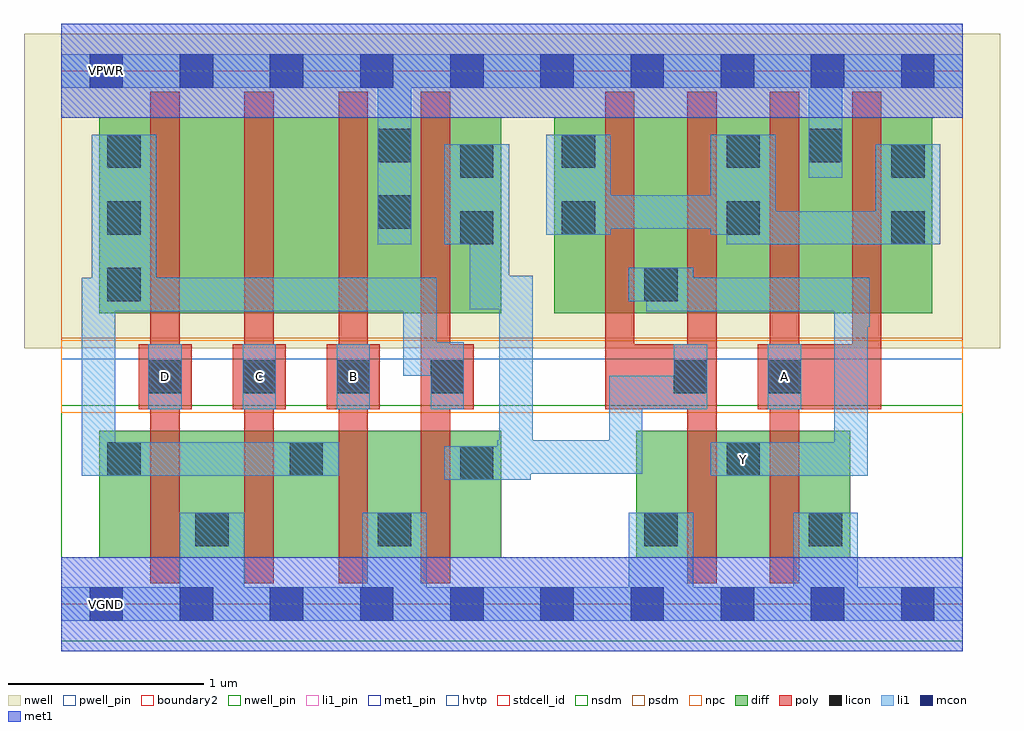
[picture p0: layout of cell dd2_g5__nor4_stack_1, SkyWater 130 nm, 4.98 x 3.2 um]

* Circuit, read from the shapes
.subckt dd2_g5__nor4_stack_1 A B C D VGND VNB VPB VPWR Y
XM1 VGND D n1 VNB sky130_fd_pr__nfet_01v8 w=0.65 l=0.15
XM2 n1 C VGND VNB sky130_fd_pr__nfet_01v8 w=0.65 l=0.15
XM3 VGND B n1 VNB sky130_fd_pr__nfet_01v8 w=0.65 l=0.15
XM4 n2 n1 VGND VNB sky130_fd_pr__nfet_01v8 w=0.65 l=0.15
XM5 Y n2 VGND VNB sky130_fd_pr__nfet_01v8 w=0.65 l=0.15
XM6 VGND A Y VNB sky130_fd_pr__nfet_01v8 w=0.65 l=0.15
XM7 n3 D n1 VPB sky130_fd_pr__pfet_01v8_hvt w=1 l=0.15
XM8 n4 C n3 VPB sky130_fd_pr__pfet_01v8_hvt w=1 l=0.15
XM9 VPWR B n4 VPB sky130_fd_pr__pfet_01v8_hvt w=1 l=0.15
XM10 n2 n1 VPWR VPB sky130_fd_pr__pfet_01v8_hvt w=1 l=0.15
XM11 Y n2 n5 VPB sky130_fd_pr__pfet_01v8_hvt w=1 l=0.15 m=2
XM12 VPWR A n5 VPB sky130_fd_pr__pfet_01v8_hvt w=1 l=0.15 m=2
.ends

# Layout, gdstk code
import gdstk
lib = gdstk.Library(unit=1e-6, precision=1e-09)
def R(c, l, rs):  # rectangles x0, y0, x1, y1
    for r in rs: c.add(gdstk.rectangle(r[:2], r[2:], *l))
def A(c, l, x, y, w, h, nx, ny, dx, dy):  # array of equal rectangles
    R(c, l, [(x+i*dx, y+j*dy, x+i*dx+w, y+j*dy+h) for i in range(nx) for j in range(ny)])
nwell_pin = (64, 16)
nwell = (64, 20)
diff = (65, 20)
poly = (66, 20)
licon = (66, 44)
li1_pin = (67, 16)
li1 = (67, 20)
mcon = (67, 44)
met1_pin = (68, 16)
met1 = (68, 20)
hvtp = (78, 44)
stdcell_id = (81, 4)
nsdm = (93, 44)
psdm = (94, 20)
npc = (95, 20)
pwell_pin = (122, 16)
boundary2 = (236, 0)

dd2_g5__nor4_stack_1 = lib.new_cell('dd2_g5__nor4_stack_1')
R(dd2_g5__nor4_stack_1, nwell_pin, [(0.145,2.635,0.315,2.805)])
R(dd2_g5__nor4_stack_1, nwell, [(-0.19,1.305,4.79,2.91)])
R(dd2_g5__nor4_stack_1, diff, [(0.195,0.235,1.01,0.885), (0.53,0.235,1.49,0.885), (1.01,0.235,1.91,0.885), (1.49,0.235,2.245,0.885), (2.935,0.235,3.69,0.885), (3.27,0.235,4.025,0.885), (0.195,1.485,1.01,2.485), (0.53,1.485,1.49,2.485), (1.01,1.485,1.91,2.485), (1.49,1.485,2.245,2.485), (2.515,1.485,3.27,2.485), (2.85,1.485,3.69,2.485), (3.27,1.485,4.11,2.485), (3.69,1.485,4.445,2.485)])
A(dd2_g5__nor4_stack_1, poly, 0.455, 0.105, 0.15, 2.51, 3, 1, 0.48, 0)
A(dd2_g5__nor4_stack_1, poly, 0.395, 0.995, 0.27, 0.33, 4, 1, 0.48, 0)
R(dd2_g5__nor4_stack_1, poly, [(1.835,0.105,1.985,2.615), (3.195,0.105,3.345,2.615), (3.615,0.105,3.765,2.615), (2.775,0.995,3.345,1.325), (2.775,0.995,2.925,2.615), (3.075,0.995,3.345,1.325), (3.555,0.995,3.825,1.325), (3.615,0.995,4.185,1.325), (4.035,0.995,4.185,2.615)])
A(dd2_g5__nor4_stack_1, licon, 0.445, 1.075, 0.17, 0.17, 4, 1, 0.48, 0)
A(dd2_g5__nor4_stack_1, licon, 0.235, 1.545, 0.17, 0.17, 1, 3, 0, 0.34)
R(dd2_g5__nor4_stack_1, licon, [(0.685,0.295,0.855,0.465), (1.615,0.295,1.785,0.465), (2.975,0.295,3.145,0.465), (3.815,0.295,3.985,0.465), (2.035,0.635,2.205,0.805), (0.235,0.655,0.405,0.825), (1.165,0.655,1.335,0.825), (3.395,0.655,3.565,0.825), (3.125,1.075,3.295,1.245), (3.605,1.075,3.775,1.245), (2.975,1.545,3.145,1.715), (2.035,1.835,2.205,2.005), (4.235,1.835,4.405,2.005), (2.555,1.885,2.725,2.055), (3.395,1.885,3.565,2.055), (1.615,1.915,1.785,2.085), (2.035,2.175,2.205,2.345), (4.235,2.175,4.405,2.345), (2.555,2.225,2.725,2.395), (3.395,2.225,3.565,2.395), (1.615,2.255,1.785,2.425), (3.815,2.255,3.985,2.425)])
A(dd2_g5__nor4_stack_1, li1_pin, 0.455, 1.085, 0.15, 0.15, 3, 1, 0.48, 0)
R(dd2_g5__nor4_stack_1, li1_pin, [(0.145,-0.085,0.315,0.085), (3.405,0.665,3.555,0.815), (3.615,1.085,3.765,1.235), (0.145,2.635,0.315,2.805)])
A(dd2_g5__nor4_stack_1, li1, 0.445, 0.995, 0.17, 0.33, 3, 1, 0.48, 0)
R(dd2_g5__nor4_stack_1, li1, [(0,-0.085,4.6,0.085), (0.605,0.085,0.935,0.465), (1.535,0.085,1.865,0.465), (2.895,0.085,3.225,0.465), (3.735,0.085,4.065,0.465), (1.955,0.635,2.395,0.665), (0.105,0.655,1.415,0.825), (3.315,0.655,4.115,0.825), (1.955,0.665,2.965,0.805), (2.225,0.805,2.965,0.835), (0.105,0.825,0.275,1.495), (3.945,0.825,4.115,1.415), (2.235,0.835,2.405,1.505), (2.795,0.835,2.965,0.995), (1.885,0.995,2.055,1.165), (2.795,0.995,3.295,1.165), (3.605,0.995,3.775,1.325), (1.745,1.165,2.055,1.335), (3.125,1.165,3.295,1.325), (1.745,1.335,1.915,1.495), (3.945,1.415,4.125,1.495), (0.105,1.495,1.915,1.665), (2.985,1.495,4.125,1.545), (2.085,1.505,2.405,1.675), (2.895,1.545,4.125,1.665), (0.155,1.665,0.485,2.395), (2.895,1.665,3.225,1.715), (2.085,1.675,2.285,1.835), (1.615,1.835,1.785,2.635), (1.955,1.835,2.285,2.345), (3.395,1.835,4.485,1.885), (2.475,1.885,2.805,1.915), (3.315,1.885,4.485,1.915), (2.475,1.915,4.485,2.005), (2.475,2.005,3.645,2.085), (4.155,2.005,4.485,2.345), (2.475,2.085,2.805,2.395), (3.315,2.085,3.645,2.395), (3.815,2.175,3.985,2.635), (0,2.635,4.6,2.805)])
A(dd2_g5__nor4_stack_1, mcon, 0.145, -0.085, 0.17, 0.17, 10, 2, 0.46, 2.72)
R(dd2_g5__nor4_stack_1, met1_pin, [(0.145,-0.085,0.315,0.085), (0.145,2.635,0.315,2.805)])
R(dd2_g5__nor4_stack_1, met1, [(0,-0.24,4.6,0.24), (0,2.48,4.6,2.96)])
R(dd2_g5__nor4_stack_1, hvtp, [(0,1.25,4.6,2.72)])
R(dd2_g5__nor4_stack_1, stdcell_id, [(0,0,4.6,2.72)])
R(dd2_g5__nor4_stack_1, nsdm, [(0,-0.19,4.6,1.015)])
R(dd2_g5__nor4_stack_1, psdm, [(0,1.355,4.6,2.91)])
R(dd2_g5__nor4_stack_1, npc, [(0,0.975,4.6,1.345)])
R(dd2_g5__nor4_stack_1, pwell_pin, [(0.145,-0.085,0.315,0.085)])
R(dd2_g5__nor4_stack_1, boundary2, [(0,0,4.6,2.72)])
dd2_g5__nor4_stack_1.add(gdstk.Label('VPWR', (0.23,2.72), layer=68, texttype=5))
dd2_g5__nor4_stack_1.add(gdstk.Label('VGND', (0.23,0), layer=68, texttype=5))
dd2_g5__nor4_stack_1.add(gdstk.Label('VPWR', (0.23,2.72), layer=67, texttype=5))
dd2_g5__nor4_stack_1.add(gdstk.Label('VGND', (0.23,0), layer=67, texttype=5))
dd2_g5__nor4_stack_1.add(gdstk.Label('A', (3.69,1.16), layer=67, texttype=5))
dd2_g5__nor4_stack_1.add(gdstk.Label('B', (1.49,1.16), layer=67, texttype=5))
dd2_g5__nor4_stack_1.add(gdstk.Label('C', (1.01,1.16), layer=67, texttype=5))
dd2_g5__nor4_stack_1.add(gdstk.Label('D', (0.53,1.16), layer=67, texttype=5))
dd2_g5__nor4_stack_1.add(gdstk.Label('Y', (3.48,0.74), layer=67, texttype=5))
dd2_g5__nor4_stack_1.add(gdstk.Label('VPB', (0.23,2.72), layer=64, texttype=5))
dd2_g5__nor4_stack_1.add(gdstk.Label('VNB', (0.23,0), layer=64, texttype=59))

lib.write_gds('dd2_g5__nor4_stack_1.gds')
